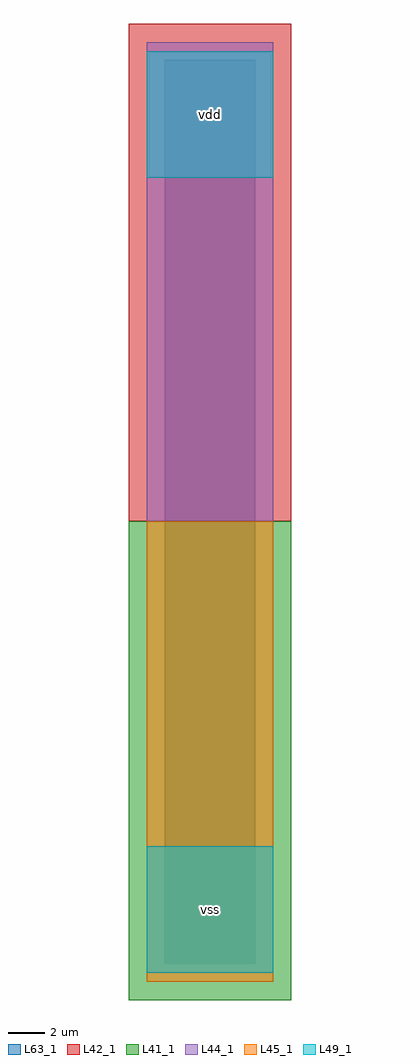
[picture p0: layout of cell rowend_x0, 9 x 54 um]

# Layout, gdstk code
import gdstk
lib = gdstk.Library(unit=1e-6, precision=1e-09)
def R(c, l, rs):  # rectangles x0, y0, x1, y1
    for r in rs: c.add(gdstk.rectangle(r[:2], r[2:], *l))
L41_1 = (41, 1)
L42_1 = (42, 1)
L44_1 = (44, 1)
L45_1 = (45, 1)
L49_1 = (49, 1)
L63_1 = (63, 1)

rowend_x0 = lib.new_cell('rowend_x0')
R(rowend_x0, L41_1, [(-2,-2,7,24.5)])
R(rowend_x0, L42_1, [(-2,24.5,7,52)])
R(rowend_x0, L44_1, [(-1,24.5,6,51)])
R(rowend_x0, L45_1, [(-1,-1,6,24.5)])
R(rowend_x0, L49_1, [(-1,-0.5,6,6.5), (-1,43.5,6,50.5)])
R(rowend_x0, L63_1, [(0,0,5,50)])
rowend_x0.add(gdstk.Label('vss', (2.5,3), layer=49, texttype=1))
rowend_x0.add(gdstk.Label('vss', (2.5,3), layer=49, texttype=1))
rowend_x0.add(gdstk.Label('vdd', (2.5,47), layer=49, texttype=1))
rowend_x0.add(gdstk.Label('vdd', (2.5,47), layer=49, texttype=1))

lib.write_gds('rowend_x0.gds')
